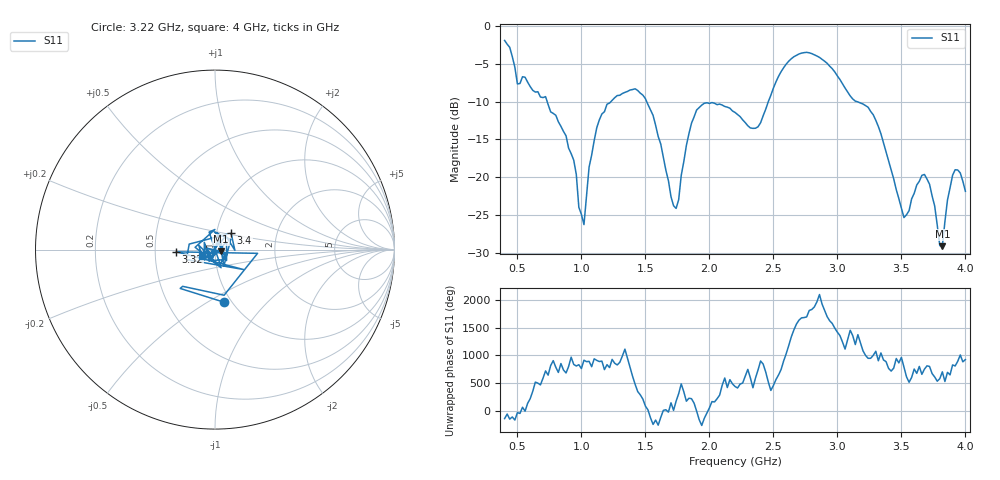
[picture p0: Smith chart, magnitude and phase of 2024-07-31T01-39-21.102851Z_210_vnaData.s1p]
!Created with skrf (http://scikit-rf.org).
# Hz S RI R 50.0
!freq ReS11 ImS11
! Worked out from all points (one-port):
!   181 points, 400 MHz to 4 GHz, reference 50 ohm
!   lowest |S11| = -29.1 dB at 3.82 GHz (marker M1), VSWR 1.07, Z = 53.5 - j1.03 ohm
!   |S11| at or under -10 dB: 732.9 MHz to 1.23 GHz (497.2 MHz wide, 50.7 % of centre); 1.51 GHz to 2.46 GHz (949.5 MHz wide, 47.8 % of centre); 3.156 GHz to end of sweep
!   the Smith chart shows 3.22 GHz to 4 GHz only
!   S11 on the Smith chart (normalised r, x): 3.22 GHz: 0.93, -0.60; 3.32 GHz: 0.64, -0.02; 3.4 GHz: 1.18, +0.22; 4 GHz: 0.86, -0.06
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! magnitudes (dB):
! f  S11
! 400 MHz  -1.9
! 500 MHz  -7.6
! 720 MHz  -9.3
! 860 MHz  -13.9
! 940 MHz  -17.7
! 1.02 GHz  -26.3
! 1.06 GHz  -18.7
! 1.12 GHz  -13.5
! 1.3 GHz  -9.1
! 1.5 GHz  -9.6
! 1.72 GHz  -23.8
! 1.76 GHz  -23.0
! 1.82 GHz  -15.8
! 1.9 GHz  -11.1
! 2.2 GHz  -11.4
! 2.38 GHz  -13.3
! 2.66 GHz  -4.0
! 2.86 GHz  -4.1
! 3.1 GHz  -9.2
! 3.22 GHz  -10.5
! 3.32 GHz  -13.3
! 3.4 GHz  -17.9
! 3.52 GHz  -25.4
! 3.56 GHz  -24.4
! 3.68 GHz  -19.6
! 3.82 GHz  -29.1
! 3.9 GHz  -19.7
! 4 GHz  -21.9
